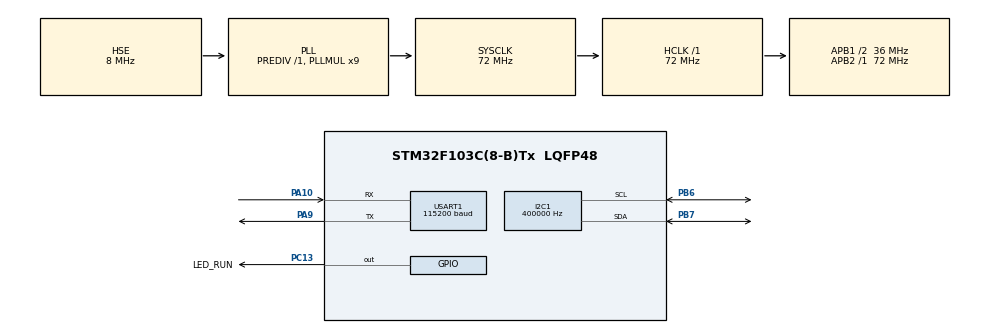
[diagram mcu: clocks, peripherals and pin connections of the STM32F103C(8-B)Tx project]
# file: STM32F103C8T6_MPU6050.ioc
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I2C1.ClockSpeed=400000
I2C1.DutyCycle=I2C_DUTYCYCLE_2
Mcu.Family=STM32F1
Mcu.Name=STM32F103C(8-B)Tx
Mcu.Package=LQFP48
NVIC.PriorityGroup=NVIC_PRIORITYGROUP_4
PA10.Mode=Asynchronous
PA10.Signal=USART1_RX
PA13.Mode=Serial_Wire
PA13.Signal=SYS_JTMS-SWDIO
PA14.Mode=Serial_Wire
PA14.Signal=SYS_JTCK-SWCLK
PA9.Mode=Asynchronous
PA9.Signal=USART1_TX
PB6.Mode=I2C
PB6.Signal=I2C1_SCL
PB7.Mode=I2C
PB7.Signal=I2C1_SDA
PC13.GPIO_Label=LED_RUN
PC13.PinState=GPIO_PIN_SET
PC13.Signal=GPIO_Output
PD0-OSC_IN.Mode=HSE-External-Oscillator
PD0-OSC_IN.Signal=RCC_OSC_IN
PD1-OSC_OUT.Mode=HSE-External-Oscillator
PD1-OSC_OUT.Signal=RCC_OSC_OUT
ProjectManager.HeapSize=0x200
ProjectManager.StackSize=0x800
ProjectManager.TargetToolchain=STM32CubeIDE
RCC.APB1Freq_Value=36000000
RCC.APB1TimFreq_Value=72000000
RCC.APB2Freq_Value=72000000
RCC.APB2TimFreq_Value=72000000
RCC.HCLKFreq_Value=72000000
RCC.HSE_VALUE=8000000
RCC.PLLMUL=RCC_PLL_MUL9
RCC.PLLSourceVirtual=RCC_PLLSOURCE_HSE
RCC.SYSCLKFreq_VALUE=72000000
RCC.SYSCLKSource=RCC_SYSCLKSOURCE_PLLCLK
RCC.VCOOutputFreq_Value=72000000
TIM2.Period=65535
TIM2.Prescaler=71
USART1.BaudRate=115200
USART1.VirtualMode-Asynchronous=VM_ASYNC
board=custom

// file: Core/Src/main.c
/* USER CODE BEGIN Header */
/**
  ******************************************************************************
  * @file           : main.c
  * @brief          : 基于 STM32F103C8T6 + MPU6050 的姿态解算例程
  ******************************************************************************
  * @attention
  *
  * Copyright (c) 2026 STMicroelectronics.
  * All rights reserved.
  *
  * This software is licensed under terms that can be found in the LICENSE file
  * in the root directory of this software component.
  * If no LICENSE file comes with this software, it is provided AS-IS.
  *
  ******************************************************************************
  *
  * 硬件连接（STM32F103C8T6 最小系统板 / "Blue Pill"  <->  MPU6050 模块）
  * ---------------------------------------------------------------------------
  *   PB6  (I2C1_SCL)  ->  SCL
  *   PB7  (I2C1_SDA)  ->  SDA
  *   3V3              ->  VCC
  *   GND              ->  GND
  *   PA9  (USART1_TX) ->  USB-TTL 模块的 RX   （调试串口，115200 8N1）
  *   PA10 (USART1_RX) ->  USB-TTL 模块的 TX
  *   PC13             ->  板载 LED（低电平点亮），用于状态指示
  *
  * 软件流程
  * ---------------------------------------------------------------------------
  *   1) SystemClock_Config()：HSE 8MHz -> PLL×9 -> SYSCLK 72MHz
  *   2) MX_I2C1_Init()      ：I2C1 400kHz Fast Mode，接 MPU6050
  *   3) MX_TIM2_Init()      ：TIM2 自由运行，1MHz 计数（1 计数 = 1us）
  *   4) MX_USART1_UART_Init()：115200 调试串口
  *   5) MPU6050_Init()      ：唤醒、配置量程与 DLPF、校验 WHO_AM_I
  *   6) MPU6050_CalibrateGyro()：静止标定陀螺零偏
  *   7) 主循环以 100Hz 读取传感器并调用 Attitude_Update() 做姿态解算，
  *      再以 10Hz 通过串口输出欧拉角，供上位机绘图。
  ******************************************************************************
  */
/* USER CODE END Header */
#include "main.h"

/* USER CODE BEGIN Includes */
#include <stdio.h>
#include "mpu6050.h"
#include "attitude.h"
#include "dbg_uart.h"
/* USER CODE END Includes */

/* USER CODE BEGIN PD */

/** @brief 姿态解算与传感器采样频率（Hz） */
#define APP_SAMPLE_FREQ_HZ       100U
/** @brief 采样周期（微秒） */
#define APP_SAMPLE_PERIOD_US     (1000000U / APP_SAMPLE_FREQ_HZ)
/** @brief 串口输出分频：100Hz / 10 = 10Hz */
#define APP_PRINT_DIVIDER        10U
/** @brief 陀螺仪零偏标定采样点数 */
#define APP_GYRO_CALIB_SAMPLES   500U
/** @brief 姿态解算算法选择：
  *        ATTITUDE_FILTER_MAHONY / ATTITUDE_FILTER_COMPLEMENTARY / ATTITUDE_FILTER_KALMAN */
#define APP_FILTER_DEFAULT       ATTITUDE_FILTER_MAHONY
/** @brief 传感器离线时的重新初始化间隔（毫秒） */
#define APP_REINIT_INTERVAL_MS   2000U
/** @brief LED 心跳周期（毫秒）：在线 500ms，离线告警 100ms */
#define APP_LED_PERIOD_ONLINE_MS 500U
#define APP_LED_PERIOD_OFFLINE_MS 100U
/* USER CODE END PD */

I2C_HandleTypeDef hi2c1;

TIM_HandleTypeDef htim2;

UART_HandleTypeDef huart1;

/* USER CODE BEGIN PV */
static MPU6050_Handle_t s_mpu;              /*!< MPU6050 驱动句柄          */
static Attitude_t       s_attitude;         /*!< 姿态解算句柄              */
static uint8_t          s_mpu_online = 0U;  /*!< 传感器是否在线            */
static uint16_t         s_last_tick_us = 0U;/*!< 上一次采样时刻（TIM2 计数）*/
static uint32_t         s_sample_idx = 0U;  /*!< 采样序号，用于输出分频    */
static uint32_t         s_led_last_ms = 0U; /*!< LED 上次翻转时刻          */
static uint32_t         s_retry_last_ms = 0U;/*!< 上次重试初始化时刻       */
/* USER CODE END PV */

void SystemClock_Config(void);
static void MX_GPIO_Init(void);
static void MX_I2C1_Init(void);
static void MX_TIM2_Init(void);
static void MX_USART1_UART_Init(void);
/* USER CODE BEGIN PFP */
static MPU6050_Status_t APP_InitSensor(void);
static void APP_PrintHeader(void);
static void APP_PrintAttitude(const MPU6050_Data_t *data);
static void APP_Step(float dt);
/* USER CODE END PFP */

int main(void)
{

  /* USER CODE BEGIN 1 */
  uint16_t now_us;
  uint16_t delta_us;
  /* USER CODE END 1 */

  /* MCU Configuration--------------------------------------------------------*/

  /* Reset of all peripherals, Initializes the Flash interface and the Systick. */
  HAL_Init();

  /* Configure the system clock */
  SystemClock_Config();

  /* Initialize all configured peripherals */
  MX_GPIO_Init();
  MX_I2C1_Init();
  MX_TIM2_Init();
  MX_USART1_UART_Init();
  /* USER CODE BEGIN 2 */
  /* 启动 TIM2 自由运行计数器：预分频 72-1 后计数频率为 1MHz（1 计数 = 1us）
     计数器周期为 65535，约 65.5ms 回绕一次。这里利用 16 位无符号减法
     自动处理回绕的特性，直接得到两次采样之间的精确微秒差。 */
  if (HAL_TIM_Base_Start(&htim2) != HAL_OK)
  {
    Error_Handler();
  }

  /* 绑定调试串口，此后可直接使用 printf */
  DBG_Init(&huart1);

  (void)printf("\r\n");
  (void)printf("=====================================================\r\n");
  (void)printf(" STM32F103C8T6 + MPU6050 Attitude Estimation (HAL)\r\n");
  (void)printf("=====================================================\r\n");
  (void)printf("SYSCLK   : %lu Hz\r\n", (unsigned long)HAL_RCC_GetSysClockFreq());
  (void)printf("I2C1     : PB6(SCL) / PB7(SDA) @ 400kHz\r\n");
  (void)printf("USART1   : PA9(TX)  / PA10(RX) @ 115200 8N1\r\n");
  (void)printf("Sampling : %u Hz, output %u Hz\r\n",
               (unsigned)APP_SAMPLE_FREQ_HZ,
               (unsigned)(APP_SAMPLE_FREQ_HZ / APP_PRINT_DIVIDER));
  (void)printf("Filter   : %s\r\n", Attitude_FilterName(APP_FILTER_DEFAULT));
  (void)printf("-----------------------------------------------------\r\n");

  if (APP_InitSensor() == MPU6050_OK)
  {
    APP_PrintHeader();
  }

  /* 记录起始时刻，进入主循环 */
  s_last_tick_us = (uint16_t)__HAL_TIM_GET_COUNTER(&htim2);

  /* USER CODE END 2 */

  /* Infinite loop */
  while (1)
  {

    /* USER CODE BEGIN 3 */
    /* ---------- 100Hz 定步长采样节拍（微秒级） ---------- */
    now_us   = (uint16_t)__HAL_TIM_GET_COUNTER(&htim2);
    delta_us = (uint16_t)(now_us - s_last_tick_us);   /* 16 位无符号减法，自动处理回绕 */

    if (delta_us >= (uint16_t)APP_SAMPLE_PERIOD_US)
    {
      s_last_tick_us = now_us;
      APP_Step((float)delta_us * 1.0e-6f);            /* 用实测间隔作为积分步长 */
    }
    /* USER CODE END 3 */
  }
}

void SystemClock_Config(void)
{
  RCC_OscInitTypeDef RCC_OscInitStruct = {0};
  RCC_ClkInitTypeDef RCC_ClkInitStruct = {0};

  /** Initializes the RCC Oscillators according to the specified parameters
  * in the RCC_OscInitTypeDef structure.
  */
  RCC_OscInitStruct.OscillatorType = RCC_OSCILLATORTYPE_HSE;
  RCC_OscInitStruct.HSEState = RCC_HSE_ON;
  RCC_OscInitStruct.HSEPredivValue = RCC_HSE_PREDIV_DIV1;
  RCC_OscInitStruct.HSIState = RCC_HSI_ON;
  RCC_OscInitStruct.PLL.PLLState = RCC_PLL_ON;
  RCC_OscInitStruct.PLL.PLLSource = RCC_PLLSOURCE_HSE;
  RCC_OscInitStruct.PLL.PLLMUL = RCC_PLL_MUL9;
  if (HAL_RCC_OscConfig(&RCC_OscInitStruct) != HAL_OK)
  {
    Error_Handler();
  }

  /** Initializes the CPU, AHB and APB buses clocks
  */
  RCC_ClkInitStruct.ClockType = RCC_CLOCKTYPE_HCLK | RCC_CLOCKTYPE_SYSCLK
                              | RCC_CLOCKTYPE_PCLK1 | RCC_CLOCKTYPE_PCLK2;
  RCC_ClkInitStruct.SYSCLKSource = RCC_SYSCLKSOURCE_PLLCLK;
  RCC_ClkInitStruct.AHBCLKDivider = RCC_SYSCLK_DIV1;
  RCC_ClkInitStruct.APB1CLKDivider = RCC_HCLK_DIV2;
  RCC_ClkInitStruct.APB2CLKDivider = RCC_HCLK_DIV1;

  if (HAL_RCC_ClockConfig(&RCC_ClkInitStruct, FLASH_LATENCY_2) != HAL_OK)
  {
    Error_Handler();
  }
}

static void MX_I2C1_Init(void)
{

  hi2c1.Instance = I2C1;
  hi2c1.Init.ClockSpeed = 400000;
  hi2c1.Init.DutyCycle = I2C_DUTYCYCLE_2;
  hi2c1.Init.OwnAddress1 = 0;
  hi2c1.Init.AddressingMode = I2C_ADDRESSINGMODE_7BIT;
  hi2c1.Init.DualAddressMode = I2C_DUALADDRESS_DISABLE;
  hi2c1.Init.OwnAddress2 = 0;
  hi2c1.Init.GeneralCallMode = I2C_GENERALCALL_DISABLE;
  hi2c1.Init.NoStretchMode = I2C_NOSTRETCH_DISABLE;
  if (HAL_I2C_Init(&hi2c1) != HAL_OK)
  {
    Error_Handler();
  }

}

static void MX_TIM2_Init(void)
{

  TIM_ClockConfigTypeDef sClockSourceConfig = {0};
  TIM_MasterConfigTypeDef sMasterConfig = {0};

  htim2.Instance = TIM2;
  htim2.Init.Prescaler = 71;
  htim2.Init.CounterMode = TIM_COUNTERMODE_UP;
  htim2.Init.Period = 65535;
  htim2.Init.ClockDivision = TIM_CLOCKDIVISION_DIV1;
  htim2.Init.AutoReloadPreload = TIM_AUTORELOAD_PRELOAD_DISABLE;
  if (HAL_TIM_Base_Init(&htim2) != HAL_OK)
  {
    Error_Handler();
  }
  sClockSourceConfig.ClockSource = TIM_CLOCKSOURCE_INTERNAL;
  if (HAL_TIM_ConfigClockSource(&htim2, &sClockSourceConfig) != HAL_OK)
  {
    Error_Handler();
  }
  sMasterConfig.MasterOutputTrigger = TIM_TRGO_RESET;
  sMasterConfig.MasterSlaveMode = TIM_MASTERSLAVEMODE_DISABLE;
  if (HAL_TIMEx_MasterConfigSynchronization(&htim2, &sMasterConfig) != HAL_OK)
  {
    Error_Handler();
  }

}

static void MX_USART1_UART_Init(void)
{

  huart1.Instance = USART1;
  huart1.Init.BaudRate = 115200;
  huart1.Init.WordLength = UART_WORDLENGTH_8B;
  huart1.Init.StopBits = UART_STOPBITS_1;
  huart1.Init.Parity = UART_PARITY_NONE;
  huart1.Init.Mode = UART_MODE_TX_RX;
  huart1.Init.HwFlowCtl = UART_HWCONTROL_NONE;
  huart1.Init.OverSampling = UART_OVERSAMPLING_16;
  if (HAL_UART_Init(&huart1) != HAL_OK)
  {
    Error_Handler();
  }

}

static void MX_GPIO_Init(void)
{
  GPIO_InitTypeDef GPIO_InitStruct = {0};

  /* GPIO Ports Clock Enable */
  __HAL_RCC_GPIOC_CLK_ENABLE();
  __HAL_RCC_GPIOA_CLK_ENABLE();
  __HAL_RCC_GPIOB_CLK_ENABLE();

  /*Configure GPIO pin Output Level : PC13 板载 LED 低电平点亮，先置高熄灭 */
  HAL_GPIO_WritePin(LED_RUN_GPIO_Port, LED_RUN_Pin, GPIO_PIN_SET);

  /*Configure GPIO pin : PC13 */
  GPIO_InitStruct.Pin = LED_RUN_Pin;
  GPIO_InitStruct.Mode = GPIO_MODE_OUTPUT_PP;
  GPIO_InitStruct.Pull = GPIO_NOPULL;
  GPIO_InitStruct.Speed = GPIO_SPEED_FREQ_LOW;
  HAL_GPIO_Init(LED_RUN_GPIO_Port, &GPIO_InitStruct);

}

/* USER CODE BEGIN 4 */

/**
  * @brief  初始化 MPU6050、标定零偏并初始化姿态解算模块
  * @retval MPU6050 驱动状态码
  */
static MPU6050_Status_t APP_InitSensor(void)
{
  MPU6050_Status_t status;
  char b0[12];
  char b1[12];
  char b2[12];

  status = MPU6050_Init(&s_mpu, &hi2c1);
  if (status != MPU6050_OK)
  {
    s_mpu_online = 0U;
    (void)printf("[FAIL] MPU6050 init failed: %s\r\n", MPU6050_StatusStr(status));
    (void)printf("       check wiring: SCL->PB6, SDA->PB7, VCC->3V3, GND->GND\r\n");
    return status;
  }

  s_mpu_online = 1U;

  (void)printf("[ OK ] MPU6050 found at address 0x%02X, WHO_AM_I = 0x%02X%s\r\n",
               (unsigned)(s_mpu.dev_addr >> 1U),
               (unsigned)s_mpu.who_am_i,
               (MPU6050_WhoAmIIsStandard(&s_mpu) != 0U) ? "" : " (compatible clone chip)");
  (void)printf("[ OK ] gyro range +/-2000dps, accel range +/-2g, DLPF 44Hz\r\n");

  (void)printf("[ .. ] calibrating gyroscope, keep the sensor still ...\r\n");
  if (MPU6050_CalibrateGyro(&s_mpu, APP_GYRO_CALIB_SAMPLES) != MPU6050_OK)
  {
    (void)printf("[WARN] gyro calibration failed, bias kept at zero\r\n");
  }
  else
  {
    DBG_FloatToStr(s_mpu.gyro_bias_dps[0], 3, b0, sizeof(b0));
    DBG_FloatToStr(s_mpu.gyro_bias_dps[1], 3, b1, sizeof(b1));
    DBG_FloatToStr(s_mpu.gyro_bias_dps[2], 3, b2, sizeof(b2));
    (void)printf("[ OK ] gyro bias = (%s, %s, %s) dps\r\n", b0, b1, b2);
  }

  /* 初始化姿态解算模块（内部会把四元数复位为单位阵） */
  Attitude_Init(&s_attitude, APP_FILTER_DEFAULT, (float)APP_SAMPLE_FREQ_HZ);

  s_sample_idx = 0U;
  return MPU6050_OK;
}

/**
  * @brief  打印 CSV 表头，方便上位机直接保存为数据文件
  * @note   数据行格式：
  *         $ATT,t_ms,roll,pitch,yaw,gx,gy,gz,ax,ay,az,temp
  */
static void APP_PrintHeader(void)
{
  (void)printf("# $ATT,t_ms,roll_deg,pitch_deg,yaw_deg,gx_dps,gy_dps,gz_dps,ax_g,ay_g,az_g,temp_c\r\n");
}

/**
  * @brief  通过串口输出一帧姿态数据（10Hz 调用）
  * @param  data : 当前传感器数据，用于同时输出原始物理量
  */
static void APP_PrintAttitude(const MPU6050_Data_t *data)
{
  char roll[12];
  char pitch[12];
  char yaw[12];
  char gx[12];
  char gy[12];
  char gz[12];
  char ax[12];
  char ay[12];
  char az[12];
  char temp[12];
  float r;
  float p;
  float y;

  Attitude_GetEuler(&s_attitude, &r, &p, &y);

  DBG_FloatToStr(r, 2, roll, sizeof(roll));
  DBG_FloatToStr(p, 2, pitch, sizeof(pitch));
  DBG_FloatToStr(y, 2, yaw, sizeof(yaw));

  DBG_FloatToStr(data->gyro_x_dps, 2, gx, sizeof(gx));
  DBG_FloatToStr(data->gyro_y_dps, 2, gy, sizeof(gy));
  DBG_FloatToStr(data->gyro_z_dps, 2, gz, sizeof(gz));

  DBG_FloatToStr(data->accel_x_g, 3, ax, sizeof(ax));
  DBG_FloatToStr(data->accel_y_g, 3, ay, sizeof(ay));
  DBG_FloatToStr(data->accel_z_g, 3, az, sizeof(az));

  DBG_FloatToStr(data->temperature_c, 2, temp, sizeof(temp));

  (void)printf("$ATT,%lu,%s,%s,%s,%s,%s,%s,%s,%s,%s,%s\r\n",
               (unsigned long)HAL_GetTick(),
               roll, pitch, yaw,
               gx, gy, gz,
               ax, ay, az,
               temp);
}

/**
  * @brief  单个采样周期内的应用逻辑（100Hz 调用）
  * @param  dt : 距上次调用的实测时间间隔（秒）
  */
static void APP_Step(float dt)
{
  MPU6050_Data_t data;
  uint32_t now_ms = HAL_GetTick();
  uint32_t led_period;

  /* ---------- LED 心跳：在线慢闪，离线快闪 ---------- */
  led_period = (s_mpu_online != 0U) ? APP_LED_PERIOD_ONLINE_MS : APP_LED_PERIOD_OFFLINE_MS;
  if ((now_ms - s_led_last_ms) >= led_period)
  {
    s_led_last_ms = now_ms;
    HAL_GPIO_TogglePin(LED_RUN_GPIO_Port, LED_RUN_Pin);
  }

  /* ---------- 传感器离线时周期性重试 ---------- */
  if (s_mpu_online == 0U)
  {
    if ((now_ms - s_retry_last_ms) >= APP_REINIT_INTERVAL_MS)
    {
      s_retry_last_ms = now_ms;
      if (APP_InitSensor() == MPU6050_OK)
      {
        APP_PrintHeader();
      }
    }
    return;
  }

  /* ---------- 读取传感器并做姿态解算 ---------- */
  if (MPU6050_ReadData(&s_mpu, &data) == MPU6050_OK)
  {
    const float gyro[3]  = { data.gyro_x_dps, data.gyro_y_dps, data.gyro_z_dps };
    const float accel[3] = { data.accel_x_g,  data.accel_y_g,  data.accel_z_g  };

    Attitude_Update(&s_attitude, gyro, accel, dt);

    s_sample_idx++;
    if ((s_sample_idx % APP_PRINT_DIVIDER) == 0U)
    {
      APP_PrintAttitude(&data);
    }
  }
  else
  {
    /* 连续读失败说明总线或器件异常，标记离线，等待重新初始化 */
    s_mpu_online = 0U;
    (void)printf("[FAIL] MPU6050 read error, sensor marked offline\r\n");
  }
}

/* USER CODE END 4 */

void Error_Handler(void)
{
  __disable_irq();
  while (1)
  {
  }
}
